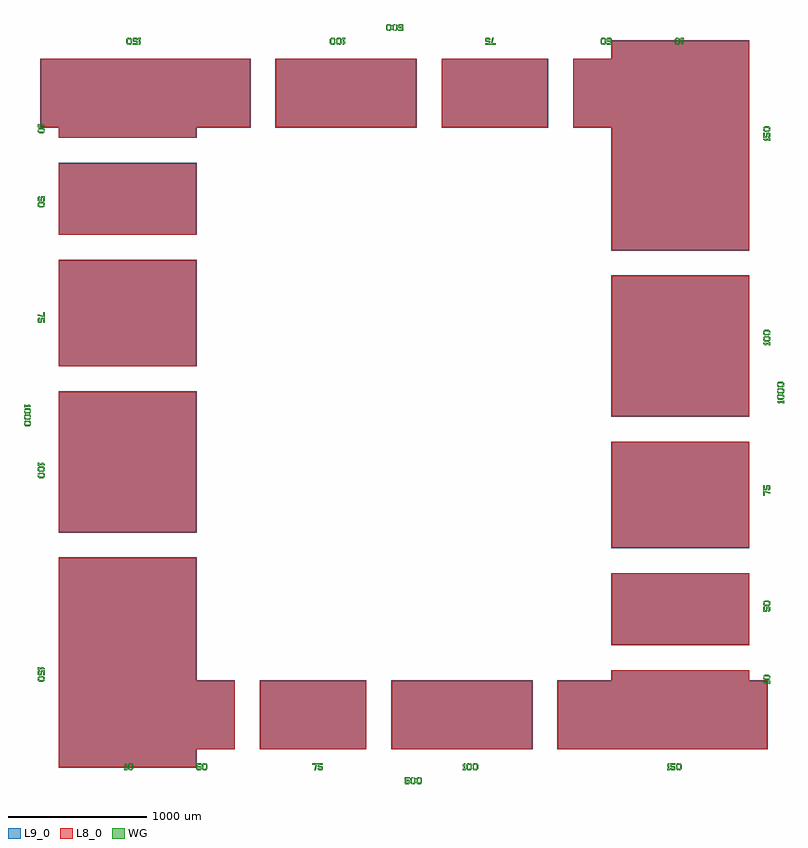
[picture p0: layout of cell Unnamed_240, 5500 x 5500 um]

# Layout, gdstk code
from math import pi, radians
import gdstk
lib = gdstk.Library(unit=1e-6, precision=1e-09)
def R(c, l, rs):  # rectangles x0, y0, x1, y1
    for r in rs: c.add(gdstk.rectangle(r[:2], r[2:], *l))
def P(c, l, *ps):  # polygons
    for p in ps: c.add(gdstk.Polygon(p, *l))
WG = (1, 0)
L8_0 = (8, 0)
L9_0 = (9, 0)

unnamed_239 = lib.new_cell('Unnamed_239')

unnamed_238 = lib.new_cell('Unnamed_238')

unnamed_236 = lib.new_cell('Unnamed_236')

unnamed_235 = lib.new_cell('Unnamed_235')

unnamed_234 = lib.new_cell('Unnamed_234')

text_t1000_s50_p0_0_jlef = lib.new_cell('text_T1000_S50_P0_0_Jleft_L1_0')
P(text_t1000_s50_p0_0_jlef, WG, [(48.5,0),(51,10),(55,10),(60,15),(60,35),(55,40),(57.5,50),(60,50),(70,40),(70,10),(60,0)],
  [(93.5,0),(96,10),(100,10),(105,15),(105,35),(100,40),(102.5,50),(105,50),(115,40),(115,10),(105,0)],
  [(138.5,0),(141,10),(145,10),(150,15),(150,35),(145,40),(147.5,50),(150,50),(160,40),(160,10),(150,0)],
  [(40,0),(30,10),(30,40),(40,50),(51.5,50),(49,40),(45,40),(40,35),(40,15),(45,10),(42.5,0)],
  [(85,0),(75,10),(75,40),(85,50),(96.5,50),(94,40),(90,40),(85,35),(85,15),(90,10),(87.5,0)],
  [(130,0),(120,10),(120,40),(130,50),(141.5,50),(139,40),(135,40),(130,35),(130,15),(135,10),(132.5,0)],
  [(5,0),(5,10),(10,10),(10,30),(5,30),(5,40),(15,50),(20,50),(20,10),(25,10),(25,0)])

rectangle_s1522_1000_l9_ = lib.new_cell('rectangle_S1522_1000_L9_b6fc3a18')
R(rectangle_s1522_1000_l9_, L9_0, [(0,0,1522,1000)])

text_t150_s50_p0_0_jleft = lib.new_cell('text_T150_S50_P0_0_Jleft_L1_0')
P(text_t150_s50_p0_0_jleft, WG, [(88.5,0),(91,10),(95,10),(100,15),(100,35),(95,40),(97.5,50),(100,50),(110,40),(110,10),(100,0)],
  [(80,0),(70,10),(70,40),(80,50),(91.5,50),(89,40),(85,40),(80,35),(80,15),(85,10),(82.5,0)],
  [(35,0),(30,5),(30,15),(40,15),(40,10),(55,10),(55,20),(35,20),(30,25),(30,50),(65,50),(65,40),(40,40),(40,30),(60,30),(65,25),(65,5),(60,0)],
  [(5,0),(5,10),(10,10),(10,30),(5,30),(5,40),(15,50),(20,50),(20,10),(25,10),(25,0)])

rectangle_s150_998_l8_0_ = lib.new_cell('rectangle_S150_998_L8_0_cd40ac17')
R(rectangle_s150_998_l8_0_, L8_0, [(0,0,150,998)])

unnamed_228 = lib.new_cell('Unnamed_228')
unnamed_228.add(gdstk.Reference(rectangle_s1522_1000_l9_, (-47.455,0)))
unnamed_228.add(gdstk.Reference(text_t150_s50_p0_0_jleft, (740.545,-150)))
unnamed_228.add(gdstk.Reference(rectangle_s150_998_l8_0_, (-45.455,0)))
unnamed_228.add(gdstk.Reference(rectangle_s150_998_l8_0_, (106.545,0)))
unnamed_228.add(gdstk.Reference(rectangle_s150_998_l8_0_, (258.545,0)))
unnamed_228.add(gdstk.Reference(rectangle_s150_998_l8_0_, (410.545,0)))
unnamed_228.add(gdstk.Reference(rectangle_s150_998_l8_0_, (562.545,0)))
unnamed_228.add(gdstk.Reference(rectangle_s150_998_l8_0_, (714.545,0)))
unnamed_228.add(gdstk.Reference(rectangle_s150_998_l8_0_, (866.545,0)))
unnamed_228.add(gdstk.Reference(rectangle_s150_998_l8_0_, (1018.545,0)))
unnamed_228.add(gdstk.Reference(rectangle_s150_998_l8_0_, (1170.545,0)))
unnamed_228.add(gdstk.Reference(rectangle_s150_998_l8_0_, (1322.545,0)))

rectangle_s1022_1000_l9_ = lib.new_cell('rectangle_S1022_1000_L9_34ee5ec5')
R(rectangle_s1022_1000_l9_, L9_0, [(0,0,1022,1000)])

text_t100_s50_p0_0_jleft = lib.new_cell('text_T100_S50_P0_0_Jleft_L1_0')
P(text_t100_s50_p0_0_jleft, WG, [(48.5,0),(51,10),(55,10),(60,15),(60,35),(55,40),(57.5,50),(60,50),(70,40),(70,10),(60,0)],
  [(93.5,0),(96,10),(100,10),(105,15),(105,35),(100,40),(102.5,50),(105,50),(115,40),(115,10),(105,0)],
  [(40,0),(30,10),(30,40),(40,50),(51.5,50),(49,40),(45,40),(40,35),(40,15),(45,10),(42.5,0)],
  [(85,0),(75,10),(75,40),(85,50),(96.5,50),(94,40),(90,40),(85,35),(85,15),(90,10),(87.5,0)],
  [(5,0),(5,10),(10,10),(10,30),(5,30),(5,40),(15,50),(20,50),(20,10),(25,10),(25,0)])

rectangle_s100_998_l8_0_ = lib.new_cell('rectangle_S100_998_L8_0_c306aa22')
R(rectangle_s100_998_l8_0_, L8_0, [(0,0,100,998)])

unnamed_227 = lib.new_cell('Unnamed_227')
unnamed_227.add(gdstk.Reference(rectangle_s1022_1000_l9_, (-47.455,0)))
unnamed_227.add(gdstk.Reference(text_t100_s50_p0_0_jleft, (465.545,-150)))
unnamed_227.add(gdstk.Reference(rectangle_s100_998_l8_0_, (-45.455,0)))
unnamed_227.add(gdstk.Reference(rectangle_s100_998_l8_0_, (56.545,0)))
unnamed_227.add(gdstk.Reference(rectangle_s100_998_l8_0_, (158.545,0)))
unnamed_227.add(gdstk.Reference(rectangle_s100_998_l8_0_, (260.545,0)))
unnamed_227.add(gdstk.Reference(rectangle_s100_998_l8_0_, (362.545,0)))
unnamed_227.add(gdstk.Reference(rectangle_s100_998_l8_0_, (464.545,0)))
unnamed_227.add(gdstk.Reference(rectangle_s100_998_l8_0_, (566.545,0)))
unnamed_227.add(gdstk.Reference(rectangle_s100_998_l8_0_, (668.545,0)))
unnamed_227.add(gdstk.Reference(rectangle_s100_998_l8_0_, (770.545,0)))
unnamed_227.add(gdstk.Reference(rectangle_s100_998_l8_0_, (872.545,0)))

rectangle_s772_1000_l9__ = lib.new_cell('rectangle_S772_1000_L9__6c6e360b')
R(rectangle_s772_1000_l9__, L9_0, [(0,0,772,1000)])

text_t75_s50_p0_0_jleft_ = lib.new_cell('text_T75_S50_P0_0_Jleft_L1_0')
P(text_t75_s50_p0_0_jleft_, WG, [(50,0),(45,5),(45,15),(55,15),(55,10),(70,10),(70,20),(50,20),(45,25),(45,50),(80,50),(80,40),(55,40),(55,30),(75,30),(80,25),(80,5),(75,0)],
  [(20,0),(28,40),(5,40),(5,50),(40,50),(30,0)])

rectangle_s75_998_l8_0__ = lib.new_cell('rectangle_S75_998_L8_0__cc8ebacf')
R(rectangle_s75_998_l8_0__, L8_0, [(0,0,75,998)])

unnamed_226 = lib.new_cell('Unnamed_226')
unnamed_226.add(gdstk.Reference(rectangle_s772_1000_l9__, (-47.455,0)))
unnamed_226.add(gdstk.Reference(text_t75_s50_p0_0_jleft_, (328.045,-150)))
unnamed_226.add(gdstk.Reference(rectangle_s75_998_l8_0__, (-45.455,0)))
unnamed_226.add(gdstk.Reference(rectangle_s75_998_l8_0__, (31.545,0)))
unnamed_226.add(gdstk.Reference(rectangle_s75_998_l8_0__, (108.545,0)))
unnamed_226.add(gdstk.Reference(rectangle_s75_998_l8_0__, (185.545,0)))
unnamed_226.add(gdstk.Reference(rectangle_s75_998_l8_0__, (262.545,0)))
unnamed_226.add(gdstk.Reference(rectangle_s75_998_l8_0__, (339.545,0)))
unnamed_226.add(gdstk.Reference(rectangle_s75_998_l8_0__, (416.545,0)))
unnamed_226.add(gdstk.Reference(rectangle_s75_998_l8_0__, (493.545,0)))
unnamed_226.add(gdstk.Reference(rectangle_s75_998_l8_0__, (570.545,0)))
unnamed_226.add(gdstk.Reference(rectangle_s75_998_l8_0__, (647.545,0)))

rectangle_s522_1000_l9__ = lib.new_cell('rectangle_S522_1000_L9__e8a8a2df')
R(rectangle_s522_1000_l9__, L9_0, [(0,0,522,1000)])

text_t50_s50_p0_0_jleft_ = lib.new_cell('text_T50_S50_P0_0_Jleft_L1_0')
P(text_t50_s50_p0_0_jleft_, WG, [(63.5,0),(66,10),(70,10),(75,15),(75,35),(70,40),(72.5,50),(75,50),(85,40),(85,10),(75,0)],
  [(55,0),(45,10),(45,40),(55,50),(66.5,50),(64,40),(60,40),(55,35),(55,15),(60,10),(57.5,0)],
  [(10,0),(5,5),(5,15),(15,15),(15,10),(30,10),(30,20),(10,20),(5,25),(5,50),(40,50),(40,40),(15,40),(15,30),(35,30),(40,25),(40,5),(35,0)])

rectangle_s50_998_l8_0__ = lib.new_cell('rectangle_S50_998_L8_0__a3cc393b')
R(rectangle_s50_998_l8_0__, L8_0, [(0,0,50,998)])

unnamed_225 = lib.new_cell('Unnamed_225')
unnamed_225.add(gdstk.Reference(rectangle_s522_1000_l9__, (-47.455,0)))
unnamed_225.add(gdstk.Reference(text_t50_s50_p0_0_jleft_, (190.545,-150)))
unnamed_225.add(gdstk.Reference(rectangle_s50_998_l8_0__, (-45.455,0)))
unnamed_225.add(gdstk.Reference(rectangle_s50_998_l8_0__, (6.545,0)))
unnamed_225.add(gdstk.Reference(rectangle_s50_998_l8_0__, (58.545,0)))
unnamed_225.add(gdstk.Reference(rectangle_s50_998_l8_0__, (110.545,0)))
unnamed_225.add(gdstk.Reference(rectangle_s50_998_l8_0__, (162.545,0)))
unnamed_225.add(gdstk.Reference(rectangle_s50_998_l8_0__, (214.545,0)))
unnamed_225.add(gdstk.Reference(rectangle_s50_998_l8_0__, (266.545,0)))
unnamed_225.add(gdstk.Reference(rectangle_s50_998_l8_0__, (318.545,0)))
unnamed_225.add(gdstk.Reference(rectangle_s50_998_l8_0__, (370.545,0)))
unnamed_225.add(gdstk.Reference(rectangle_s50_998_l8_0__, (422.545,0)))

rectangle_s122_1000_l9__ = lib.new_cell('rectangle_S122_1000_L9__1de77251')
R(rectangle_s122_1000_l9__, L9_0, [(0,0,122,1000)])

text_t10_s50_p0_0_jleft_ = lib.new_cell('text_T10_S50_P0_0_Jleft_L1_0')
P(text_t10_s50_p0_0_jleft_, WG, [(48.5,0),(51,10),(55,10),(60,15),(60,35),(55,40),(57.5,50),(60,50),(70,40),(70,10),(60,0)],
  [(40,0),(30,10),(30,40),(40,50),(51.5,50),(49,40),(45,40),(40,35),(40,15),(45,10),(42.5,0)],
  [(5,0),(5,10),(10,10),(10,30),(5,30),(5,40),(15,50),(20,50),(20,10),(25,10),(25,0)])

rectangle_s10_998_l8_0__ = lib.new_cell('rectangle_S10_998_L8_0__618c10ad')
R(rectangle_s10_998_l8_0__, L8_0, [(0,0,10,998)])

unnamed_224 = lib.new_cell('Unnamed_224')
unnamed_224.add(gdstk.Reference(rectangle_s122_1000_l9__, (-47.455,0)))
unnamed_224.add(gdstk.Reference(text_t10_s50_p0_0_jleft_, (-29.455,-150)))
unnamed_224.add(gdstk.Reference(rectangle_s10_998_l8_0__, (-45.455,0)))
unnamed_224.add(gdstk.Reference(rectangle_s10_998_l8_0__, (-33.455,0)))
unnamed_224.add(gdstk.Reference(rectangle_s10_998_l8_0__, (-21.455,0)))
unnamed_224.add(gdstk.Reference(rectangle_s10_998_l8_0__, (-9.455,0)))
unnamed_224.add(gdstk.Reference(rectangle_s10_998_l8_0__, (2.545,0)))
unnamed_224.add(gdstk.Reference(rectangle_s10_998_l8_0__, (14.545,0)))
unnamed_224.add(gdstk.Reference(rectangle_s10_998_l8_0__, (26.545,0)))
unnamed_224.add(gdstk.Reference(rectangle_s10_998_l8_0__, (38.545,0)))
unnamed_224.add(gdstk.Reference(rectangle_s10_998_l8_0__, (50.545,0)))
unnamed_224.add(gdstk.Reference(rectangle_s10_998_l8_0__, (62.545,0)))

unnamed_232 = lib.new_cell('Unnamed_232')
unnamed_232.add(gdstk.Reference(text_t1000_s50_p0_0_jlef, (2500,-250)))
unnamed_232.add(gdstk.Reference(unnamed_228, (3658,0)))
unnamed_232.add(gdstk.Reference(unnamed_227, (2456,0)))
unnamed_232.add(gdstk.Reference(unnamed_226, (1504,0)))
unnamed_232.add(gdstk.Reference(unnamed_225, (802,0)))
unnamed_232.add(gdstk.Reference(unnamed_224, (500,0)))

text_t500_s50_p0_0_jleft = lib.new_cell('text_T500_S50_P0_0_Jleft_L1_0')
P(text_t500_s50_p0_0_jleft, WG, [(63.5,0),(66,10),(70,10),(75,15),(75,35),(70,40),(72.5,50),(75,50),(85,40),(85,10),(75,0)],
  [(108.5,0),(111,10),(115,10),(120,15),(120,35),(115,40),(117.5,50),(120,50),(130,40),(130,10),(120,0)],
  [(55,0),(45,10),(45,40),(55,50),(66.5,50),(64,40),(60,40),(55,35),(55,15),(60,10),(57.5,0)],
  [(100,0),(90,10),(90,40),(100,50),(111.5,50),(109,40),(105,40),(100,35),(100,15),(105,10),(102.5,0)],
  [(10,0),(5,5),(5,15),(15,15),(15,10),(30,10),(30,20),(10,20),(5,25),(5,50),(40,50),(40,40),(15,40),(15,30),(35,30),(40,25),(40,5),(35,0)])

rectangle_s1522_500_l9__ = lib.new_cell('rectangle_S1522_500_L9__e665eb4e')
R(rectangle_s1522_500_l9__, L9_0, [(0,0,1522,500)])

rectangle_s150_498_l8_0_ = lib.new_cell('rectangle_S150_498_L8_0_3344f8a4')
R(rectangle_s150_498_l8_0_, L8_0, [(0,0,150,498)])

unnamed_218 = lib.new_cell('Unnamed_218')
unnamed_218.add(gdstk.Reference(rectangle_s1522_500_l9__, (-47.455,0)))
unnamed_218.add(gdstk.Reference(text_t150_s50_p0_0_jleft, (740.545,-150)))
unnamed_218.add(gdstk.Reference(rectangle_s150_498_l8_0_, (-45.455,0)))
unnamed_218.add(gdstk.Reference(rectangle_s150_498_l8_0_, (106.545,0)))
unnamed_218.add(gdstk.Reference(rectangle_s150_498_l8_0_, (258.545,0)))
unnamed_218.add(gdstk.Reference(rectangle_s150_498_l8_0_, (410.545,0)))
unnamed_218.add(gdstk.Reference(rectangle_s150_498_l8_0_, (562.545,0)))
unnamed_218.add(gdstk.Reference(rectangle_s150_498_l8_0_, (714.545,0)))
unnamed_218.add(gdstk.Reference(rectangle_s150_498_l8_0_, (866.545,0)))
unnamed_218.add(gdstk.Reference(rectangle_s150_498_l8_0_, (1018.545,0)))
unnamed_218.add(gdstk.Reference(rectangle_s150_498_l8_0_, (1170.545,0)))
unnamed_218.add(gdstk.Reference(rectangle_s150_498_l8_0_, (1322.545,0)))

rectangle_s1022_500_l9__ = lib.new_cell('rectangle_S1022_500_L9__7b66dc4e')
R(rectangle_s1022_500_l9__, L9_0, [(0,0,1022,500)])

rectangle_s100_498_l8_0_ = lib.new_cell('rectangle_S100_498_L8_0_8e44272a')
R(rectangle_s100_498_l8_0_, L8_0, [(0,0,100,498)])

unnamed_217 = lib.new_cell('Unnamed_217')
unnamed_217.add(gdstk.Reference(rectangle_s1022_500_l9__, (-47.455,0)))
unnamed_217.add(gdstk.Reference(text_t100_s50_p0_0_jleft, (465.545,-150)))
unnamed_217.add(gdstk.Reference(rectangle_s100_498_l8_0_, (-45.455,0)))
unnamed_217.add(gdstk.Reference(rectangle_s100_498_l8_0_, (56.545,0)))
unnamed_217.add(gdstk.Reference(rectangle_s100_498_l8_0_, (158.545,0)))
unnamed_217.add(gdstk.Reference(rectangle_s100_498_l8_0_, (260.545,0)))
unnamed_217.add(gdstk.Reference(rectangle_s100_498_l8_0_, (362.545,0)))
unnamed_217.add(gdstk.Reference(rectangle_s100_498_l8_0_, (464.545,0)))
unnamed_217.add(gdstk.Reference(rectangle_s100_498_l8_0_, (566.545,0)))
unnamed_217.add(gdstk.Reference(rectangle_s100_498_l8_0_, (668.545,0)))
unnamed_217.add(gdstk.Reference(rectangle_s100_498_l8_0_, (770.545,0)))
unnamed_217.add(gdstk.Reference(rectangle_s100_498_l8_0_, (872.545,0)))

rectangle_s772_500_l9_0_ = lib.new_cell('rectangle_S772_500_L9_0_f8fbfb8e')
R(rectangle_s772_500_l9_0_, L9_0, [(0,0,772,500)])

rectangle_s75_498_l8_0__ = lib.new_cell('rectangle_S75_498_L8_0__5f6cecd9')
R(rectangle_s75_498_l8_0__, L8_0, [(0,0,75,498)])

unnamed_216 = lib.new_cell('Unnamed_216')
unnamed_216.add(gdstk.Reference(rectangle_s772_500_l9_0_, (-47.455,0)))
unnamed_216.add(gdstk.Reference(text_t75_s50_p0_0_jleft_, (328.045,-150)))
unnamed_216.add(gdstk.Reference(rectangle_s75_498_l8_0__, (-45.455,0)))
unnamed_216.add(gdstk.Reference(rectangle_s75_498_l8_0__, (31.545,0)))
unnamed_216.add(gdstk.Reference(rectangle_s75_498_l8_0__, (108.545,0)))
unnamed_216.add(gdstk.Reference(rectangle_s75_498_l8_0__, (185.545,0)))
unnamed_216.add(gdstk.Reference(rectangle_s75_498_l8_0__, (262.545,0)))
unnamed_216.add(gdstk.Reference(rectangle_s75_498_l8_0__, (339.545,0)))
unnamed_216.add(gdstk.Reference(rectangle_s75_498_l8_0__, (416.545,0)))
unnamed_216.add(gdstk.Reference(rectangle_s75_498_l8_0__, (493.545,0)))
unnamed_216.add(gdstk.Reference(rectangle_s75_498_l8_0__, (570.545,0)))
unnamed_216.add(gdstk.Reference(rectangle_s75_498_l8_0__, (647.545,0)))

rectangle_s522_500_l9_0_ = lib.new_cell('rectangle_S522_500_L9_0_2f4601c8')
R(rectangle_s522_500_l9_0_, L9_0, [(0,0,522,500)])

rectangle_s50_498_l8_0__ = lib.new_cell('rectangle_S50_498_L8_0__cadecadc')
R(rectangle_s50_498_l8_0__, L8_0, [(0,0,50,498)])

unnamed_215 = lib.new_cell('Unnamed_215')
unnamed_215.add(gdstk.Reference(rectangle_s522_500_l9_0_, (-47.455,0)))
unnamed_215.add(gdstk.Reference(text_t50_s50_p0_0_jleft_, (190.545,-150)))
unnamed_215.add(gdstk.Reference(rectangle_s50_498_l8_0__, (-45.455,0)))
unnamed_215.add(gdstk.Reference(rectangle_s50_498_l8_0__, (6.545,0)))
unnamed_215.add(gdstk.Reference(rectangle_s50_498_l8_0__, (58.545,0)))
unnamed_215.add(gdstk.Reference(rectangle_s50_498_l8_0__, (110.545,0)))
unnamed_215.add(gdstk.Reference(rectangle_s50_498_l8_0__, (162.545,0)))
unnamed_215.add(gdstk.Reference(rectangle_s50_498_l8_0__, (214.545,0)))
unnamed_215.add(gdstk.Reference(rectangle_s50_498_l8_0__, (266.545,0)))
unnamed_215.add(gdstk.Reference(rectangle_s50_498_l8_0__, (318.545,0)))
unnamed_215.add(gdstk.Reference(rectangle_s50_498_l8_0__, (370.545,0)))
unnamed_215.add(gdstk.Reference(rectangle_s50_498_l8_0__, (422.545,0)))

rectangle_s122_500_l9_0_ = lib.new_cell('rectangle_S122_500_L9_0_ffbf6d70')
R(rectangle_s122_500_l9_0_, L9_0, [(0,0,122,500)])

rectangle_s10_498_l8_0__ = lib.new_cell('rectangle_S10_498_L8_0__ad3ec932')
R(rectangle_s10_498_l8_0__, L8_0, [(0,0,10,498)])

unnamed_214 = lib.new_cell('Unnamed_214')
unnamed_214.add(gdstk.Reference(text_t10_s50_p0_0_jleft_, (-29.455,-150)))
unnamed_214.add(gdstk.Reference(rectangle_s122_500_l9_0_, (-47.455,0)))
unnamed_214.add(gdstk.Reference(rectangle_s10_498_l8_0__, (-45.455,0)))
unnamed_214.add(gdstk.Reference(rectangle_s10_498_l8_0__, (-33.455,0)))
unnamed_214.add(gdstk.Reference(rectangle_s10_498_l8_0__, (-21.455,0)))
unnamed_214.add(gdstk.Reference(rectangle_s10_498_l8_0__, (-9.455,0)))
unnamed_214.add(gdstk.Reference(rectangle_s10_498_l8_0__, (2.545,0)))
unnamed_214.add(gdstk.Reference(rectangle_s10_498_l8_0__, (14.545,0)))
unnamed_214.add(gdstk.Reference(rectangle_s10_498_l8_0__, (26.545,0)))
unnamed_214.add(gdstk.Reference(rectangle_s10_498_l8_0__, (38.545,0)))
unnamed_214.add(gdstk.Reference(rectangle_s10_498_l8_0__, (50.545,0)))
unnamed_214.add(gdstk.Reference(rectangle_s10_498_l8_0__, (62.545,0)))

unnamed_230 = lib.new_cell('Unnamed_230')
unnamed_230.add(gdstk.Reference(text_t500_s50_p0_0_jleft, (2500,-250)))
unnamed_230.add(gdstk.Reference(unnamed_218, (3658,0)))
unnamed_230.add(gdstk.Reference(unnamed_217, (2456,0)))
unnamed_230.add(gdstk.Reference(unnamed_216, (1504,0)))
unnamed_230.add(gdstk.Reference(unnamed_215, (802,0)))
unnamed_230.add(gdstk.Reference(unnamed_214, (500,0)))

unnamed_233 = lib.new_cell('Unnamed_233')

unnamed_237 = lib.new_cell('Unnamed_237')

unnamed_223 = lib.new_cell('Unnamed_223')
unnamed_223.add(gdstk.Reference(rectangle_s1522_1000_l9_, (-47.455,0)))
unnamed_223.add(gdstk.Reference(text_t150_s50_p0_0_jleft, (740.545,-150)))
unnamed_223.add(gdstk.Reference(rectangle_s150_998_l8_0_, (-45.455,0)))
unnamed_223.add(gdstk.Reference(rectangle_s150_998_l8_0_, (106.545,0)))
unnamed_223.add(gdstk.Reference(rectangle_s150_998_l8_0_, (258.545,0)))
unnamed_223.add(gdstk.Reference(rectangle_s150_998_l8_0_, (410.545,0)))
unnamed_223.add(gdstk.Reference(rectangle_s150_998_l8_0_, (562.545,0)))
unnamed_223.add(gdstk.Reference(rectangle_s150_998_l8_0_, (714.545,0)))
unnamed_223.add(gdstk.Reference(rectangle_s150_998_l8_0_, (866.545,0)))
unnamed_223.add(gdstk.Reference(rectangle_s150_998_l8_0_, (1018.545,0)))
unnamed_223.add(gdstk.Reference(rectangle_s150_998_l8_0_, (1170.545,0)))
unnamed_223.add(gdstk.Reference(rectangle_s150_998_l8_0_, (1322.545,0)))

unnamed_222 = lib.new_cell('Unnamed_222')
unnamed_222.add(gdstk.Reference(rectangle_s1022_1000_l9_, (-47.455,0)))
unnamed_222.add(gdstk.Reference(text_t100_s50_p0_0_jleft, (465.545,-150)))
unnamed_222.add(gdstk.Reference(rectangle_s100_998_l8_0_, (-45.455,0)))
unnamed_222.add(gdstk.Reference(rectangle_s100_998_l8_0_, (56.545,0)))
unnamed_222.add(gdstk.Reference(rectangle_s100_998_l8_0_, (158.545,0)))
unnamed_222.add(gdstk.Reference(rectangle_s100_998_l8_0_, (260.545,0)))
unnamed_222.add(gdstk.Reference(rectangle_s100_998_l8_0_, (362.545,0)))
unnamed_222.add(gdstk.Reference(rectangle_s100_998_l8_0_, (464.545,0)))
unnamed_222.add(gdstk.Reference(rectangle_s100_998_l8_0_, (566.545,0)))
unnamed_222.add(gdstk.Reference(rectangle_s100_998_l8_0_, (668.545,0)))
unnamed_222.add(gdstk.Reference(rectangle_s100_998_l8_0_, (770.545,0)))
unnamed_222.add(gdstk.Reference(rectangle_s100_998_l8_0_, (872.545,0)))

unnamed_221 = lib.new_cell('Unnamed_221')
unnamed_221.add(gdstk.Reference(rectangle_s772_1000_l9__, (-47.455,0)))
unnamed_221.add(gdstk.Reference(text_t75_s50_p0_0_jleft_, (328.045,-150)))
unnamed_221.add(gdstk.Reference(rectangle_s75_998_l8_0__, (-45.455,0)))
unnamed_221.add(gdstk.Reference(rectangle_s75_998_l8_0__, (31.545,0)))
unnamed_221.add(gdstk.Reference(rectangle_s75_998_l8_0__, (108.545,0)))
unnamed_221.add(gdstk.Reference(rectangle_s75_998_l8_0__, (185.545,0)))
unnamed_221.add(gdstk.Reference(rectangle_s75_998_l8_0__, (262.545,0)))
unnamed_221.add(gdstk.Reference(rectangle_s75_998_l8_0__, (339.545,0)))
unnamed_221.add(gdstk.Reference(rectangle_s75_998_l8_0__, (416.545,0)))
unnamed_221.add(gdstk.Reference(rectangle_s75_998_l8_0__, (493.545,0)))
unnamed_221.add(gdstk.Reference(rectangle_s75_998_l8_0__, (570.545,0)))
unnamed_221.add(gdstk.Reference(rectangle_s75_998_l8_0__, (647.545,0)))

unnamed_220 = lib.new_cell('Unnamed_220')
unnamed_220.add(gdstk.Reference(rectangle_s522_1000_l9__, (-47.455,0)))
unnamed_220.add(gdstk.Reference(text_t50_s50_p0_0_jleft_, (190.545,-150)))
unnamed_220.add(gdstk.Reference(rectangle_s50_998_l8_0__, (-45.455,0)))
unnamed_220.add(gdstk.Reference(rectangle_s50_998_l8_0__, (6.545,0)))
unnamed_220.add(gdstk.Reference(rectangle_s50_998_l8_0__, (58.545,0)))
unnamed_220.add(gdstk.Reference(rectangle_s50_998_l8_0__, (110.545,0)))
unnamed_220.add(gdstk.Reference(rectangle_s50_998_l8_0__, (162.545,0)))
unnamed_220.add(gdstk.Reference(rectangle_s50_998_l8_0__, (214.545,0)))
unnamed_220.add(gdstk.Reference(rectangle_s50_998_l8_0__, (266.545,0)))
unnamed_220.add(gdstk.Reference(rectangle_s50_998_l8_0__, (318.545,0)))
unnamed_220.add(gdstk.Reference(rectangle_s50_998_l8_0__, (370.545,0)))
unnamed_220.add(gdstk.Reference(rectangle_s50_998_l8_0__, (422.545,0)))

unnamed_219 = lib.new_cell('Unnamed_219')
unnamed_219.add(gdstk.Reference(rectangle_s122_1000_l9__, (-47.455,0)))
unnamed_219.add(gdstk.Reference(text_t10_s50_p0_0_jleft_, (-29.455,-150)))
unnamed_219.add(gdstk.Reference(rectangle_s10_998_l8_0__, (-45.455,0)))
unnamed_219.add(gdstk.Reference(rectangle_s10_998_l8_0__, (-33.455,0)))
unnamed_219.add(gdstk.Reference(rectangle_s10_998_l8_0__, (-21.455,0)))
unnamed_219.add(gdstk.Reference(rectangle_s10_998_l8_0__, (-9.455,0)))
unnamed_219.add(gdstk.Reference(rectangle_s10_998_l8_0__, (2.545,0)))
unnamed_219.add(gdstk.Reference(rectangle_s10_998_l8_0__, (14.545,0)))
unnamed_219.add(gdstk.Reference(rectangle_s10_998_l8_0__, (26.545,0)))
unnamed_219.add(gdstk.Reference(rectangle_s10_998_l8_0__, (38.545,0)))
unnamed_219.add(gdstk.Reference(rectangle_s10_998_l8_0__, (50.545,0)))
unnamed_219.add(gdstk.Reference(rectangle_s10_998_l8_0__, (62.545,0)))

unnamed_231 = lib.new_cell('Unnamed_231')
unnamed_231.add(gdstk.Reference(text_t1000_s50_p0_0_jlef, (2500,-250)))
unnamed_231.add(gdstk.Reference(unnamed_223, (3658,0)))
unnamed_231.add(gdstk.Reference(unnamed_222, (2456,0)))
unnamed_231.add(gdstk.Reference(unnamed_221, (1504,0)))
unnamed_231.add(gdstk.Reference(unnamed_220, (802,0)))
unnamed_231.add(gdstk.Reference(unnamed_219, (500,0)))

unnamed_213 = lib.new_cell('Unnamed_213')
unnamed_213.add(gdstk.Reference(rectangle_s1522_500_l9__, (-47.455,0)))
unnamed_213.add(gdstk.Reference(text_t150_s50_p0_0_jleft, (740.545,-150)))
unnamed_213.add(gdstk.Reference(rectangle_s150_498_l8_0_, (-45.455,0)))
unnamed_213.add(gdstk.Reference(rectangle_s150_498_l8_0_, (106.545,0)))
unnamed_213.add(gdstk.Reference(rectangle_s150_498_l8_0_, (258.545,0)))
unnamed_213.add(gdstk.Reference(rectangle_s150_498_l8_0_, (410.545,0)))
unnamed_213.add(gdstk.Reference(rectangle_s150_498_l8_0_, (562.545,0)))
unnamed_213.add(gdstk.Reference(rectangle_s150_498_l8_0_, (714.545,0)))
unnamed_213.add(gdstk.Reference(rectangle_s150_498_l8_0_, (866.545,0)))
unnamed_213.add(gdstk.Reference(rectangle_s150_498_l8_0_, (1018.545,0)))
unnamed_213.add(gdstk.Reference(rectangle_s150_498_l8_0_, (1170.545,0)))
unnamed_213.add(gdstk.Reference(rectangle_s150_498_l8_0_, (1322.545,0)))

unnamed_212 = lib.new_cell('Unnamed_212')
unnamed_212.add(gdstk.Reference(rectangle_s1022_500_l9__, (-47.455,0)))
unnamed_212.add(gdstk.Reference(text_t100_s50_p0_0_jleft, (465.545,-150)))
unnamed_212.add(gdstk.Reference(rectangle_s100_498_l8_0_, (-45.455,0)))
unnamed_212.add(gdstk.Reference(rectangle_s100_498_l8_0_, (56.545,0)))
unnamed_212.add(gdstk.Reference(rectangle_s100_498_l8_0_, (158.545,0)))
unnamed_212.add(gdstk.Reference(rectangle_s100_498_l8_0_, (260.545,0)))
unnamed_212.add(gdstk.Reference(rectangle_s100_498_l8_0_, (362.545,0)))
unnamed_212.add(gdstk.Reference(rectangle_s100_498_l8_0_, (464.545,0)))
unnamed_212.add(gdstk.Reference(rectangle_s100_498_l8_0_, (566.545,0)))
unnamed_212.add(gdstk.Reference(rectangle_s100_498_l8_0_, (668.545,0)))
unnamed_212.add(gdstk.Reference(rectangle_s100_498_l8_0_, (770.545,0)))
unnamed_212.add(gdstk.Reference(rectangle_s100_498_l8_0_, (872.545,0)))

unnamed_211 = lib.new_cell('Unnamed_211')
unnamed_211.add(gdstk.Reference(rectangle_s772_500_l9_0_, (-47.455,0)))
unnamed_211.add(gdstk.Reference(text_t75_s50_p0_0_jleft_, (328.045,-150)))
unnamed_211.add(gdstk.Reference(rectangle_s75_498_l8_0__, (-45.455,0)))
unnamed_211.add(gdstk.Reference(rectangle_s75_498_l8_0__, (31.545,0)))
unnamed_211.add(gdstk.Reference(rectangle_s75_498_l8_0__, (108.545,0)))
unnamed_211.add(gdstk.Reference(rectangle_s75_498_l8_0__, (185.545,0)))
unnamed_211.add(gdstk.Reference(rectangle_s75_498_l8_0__, (262.545,0)))
unnamed_211.add(gdstk.Reference(rectangle_s75_498_l8_0__, (339.545,0)))
unnamed_211.add(gdstk.Reference(rectangle_s75_498_l8_0__, (416.545,0)))
unnamed_211.add(gdstk.Reference(rectangle_s75_498_l8_0__, (493.545,0)))
unnamed_211.add(gdstk.Reference(rectangle_s75_498_l8_0__, (570.545,0)))
unnamed_211.add(gdstk.Reference(rectangle_s75_498_l8_0__, (647.545,0)))

unnamed_210 = lib.new_cell('Unnamed_210')
unnamed_210.add(gdstk.Reference(rectangle_s522_500_l9_0_, (-47.455,0)))
unnamed_210.add(gdstk.Reference(text_t50_s50_p0_0_jleft_, (190.545,-150)))
unnamed_210.add(gdstk.Reference(rectangle_s50_498_l8_0__, (-45.455,0)))
unnamed_210.add(gdstk.Reference(rectangle_s50_498_l8_0__, (6.545,0)))
unnamed_210.add(gdstk.Reference(rectangle_s50_498_l8_0__, (58.545,0)))
unnamed_210.add(gdstk.Reference(rectangle_s50_498_l8_0__, (110.545,0)))
unnamed_210.add(gdstk.Reference(rectangle_s50_498_l8_0__, (162.545,0)))
unnamed_210.add(gdstk.Reference(rectangle_s50_498_l8_0__, (214.545,0)))
unnamed_210.add(gdstk.Reference(rectangle_s50_498_l8_0__, (266.545,0)))
unnamed_210.add(gdstk.Reference(rectangle_s50_498_l8_0__, (318.545,0)))
unnamed_210.add(gdstk.Reference(rectangle_s50_498_l8_0__, (370.545,0)))
unnamed_210.add(gdstk.Reference(rectangle_s50_498_l8_0__, (422.545,0)))

unnamed_209 = lib.new_cell('Unnamed_209')
unnamed_209.add(gdstk.Reference(text_t10_s50_p0_0_jleft_, (-29.455,-150)))
unnamed_209.add(gdstk.Reference(rectangle_s122_500_l9_0_, (-47.455,0)))
unnamed_209.add(gdstk.Reference(rectangle_s10_498_l8_0__, (-45.455,0)))
unnamed_209.add(gdstk.Reference(rectangle_s10_498_l8_0__, (-33.455,0)))
unnamed_209.add(gdstk.Reference(rectangle_s10_498_l8_0__, (-21.455,0)))
unnamed_209.add(gdstk.Reference(rectangle_s10_498_l8_0__, (-9.455,0)))
unnamed_209.add(gdstk.Reference(rectangle_s10_498_l8_0__, (2.545,0)))
unnamed_209.add(gdstk.Reference(rectangle_s10_498_l8_0__, (14.545,0)))
unnamed_209.add(gdstk.Reference(rectangle_s10_498_l8_0__, (26.545,0)))
unnamed_209.add(gdstk.Reference(rectangle_s10_498_l8_0__, (38.545,0)))
unnamed_209.add(gdstk.Reference(rectangle_s10_498_l8_0__, (50.545,0)))
unnamed_209.add(gdstk.Reference(rectangle_s10_498_l8_0__, (62.545,0)))

unnamed_229 = lib.new_cell('Unnamed_229')
unnamed_229.add(gdstk.Reference(text_t500_s50_p0_0_jleft, (2500,-250)))
unnamed_229.add(gdstk.Reference(unnamed_213, (3658,0)))
unnamed_229.add(gdstk.Reference(unnamed_212, (2456,0)))
unnamed_229.add(gdstk.Reference(unnamed_211, (1504,0)))
unnamed_229.add(gdstk.Reference(unnamed_210, (802,0)))
unnamed_229.add(gdstk.Reference(unnamed_209, (500,0)))

unnamed_240 = lib.new_cell('Unnamed_240')
unnamed_240.add(gdstk.Reference(unnamed_239, (5000,0), rotation=pi/2))
unnamed_240.add(gdstk.Reference(unnamed_238, (5000,0), rotation=pi/2))
unnamed_240.add(gdstk.Reference(unnamed_236, (5000,0), rotation=pi/2))
unnamed_240.add(gdstk.Reference(unnamed_235, (5000,0), rotation=pi/2))
unnamed_240.add(gdstk.Reference(unnamed_234, (5000,0), rotation=pi/2))
unnamed_240.add(gdstk.Reference(unnamed_232, (5000,0), rotation=pi/2))
unnamed_240.add(gdstk.Reference(unnamed_230, (5000,5000), rotation=pi))
unnamed_240.add(gdstk.Reference(unnamed_233, (5000,0), rotation=pi/2))
unnamed_240.add(gdstk.Reference(unnamed_237, (5000,0), rotation=pi/2))
unnamed_240.add(gdstk.Reference(unnamed_231, (0,5000), rotation=3*pi/2))
unnamed_240.add(gdstk.Reference(unnamed_229, (0,0)))

lib.write_gds('Unnamed_240.gds')
